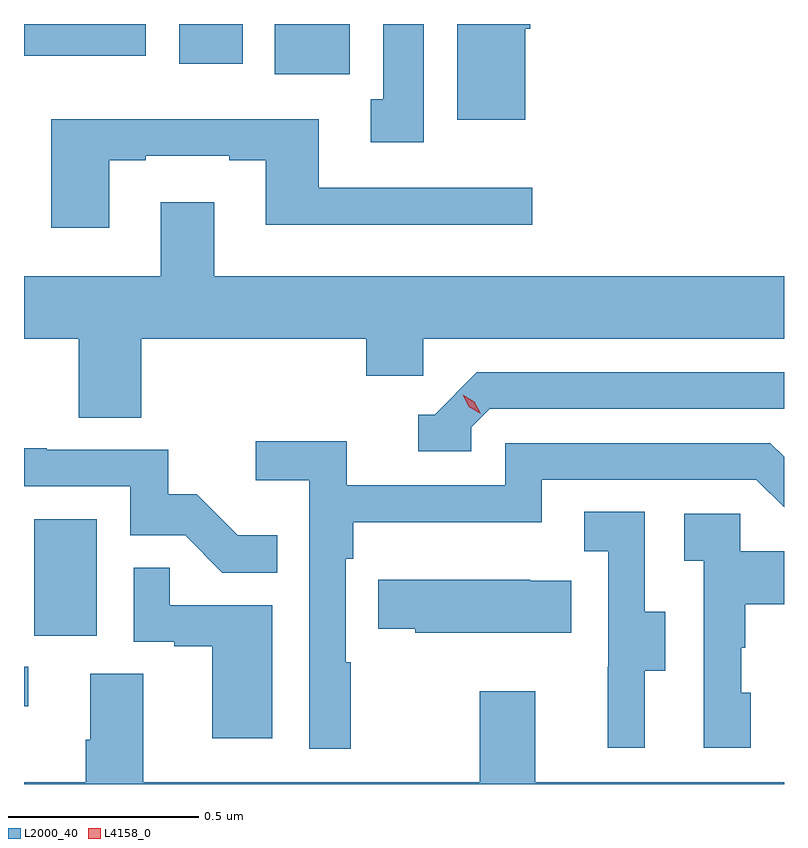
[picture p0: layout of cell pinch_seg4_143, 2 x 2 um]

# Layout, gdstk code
import gdstk
lib = gdstk.Library(unit=1e-6, precision=1e-09)
def R(c, l, rs):  # rectangles x0, y0, x1, y1
    for r in rs: c.add(gdstk.rectangle(r[:2], r[2:], *l))
def P(c, l, *ps):  # polygons
    for p in ps: c.add(gdstk.Polygon(p, *l))
L2000_40 = (2000, 40)
L4158_0 = (4158, 0)

pinch_seg4_143 = lib.new_cell('pinch_seg4_143')
R(pinch_seg4_143, L2000_40, [(1130.105,806.508,1130.116,806.613), (1130.132,806.694,1130.296,807.001), (1130.765,808.172,1130.962,808.304), (1130.513,808.2,1130.68,808.304), (1130.105,808.22,1130.425,808.304)])
P(pinch_seg4_143, L2000_40, [(1131.424,808.292),(1131.437,808.292),(1131.437,808.304),(1131.245,808.304),(1131.245,808.052),(1131.424,808.052)],
  [(1131.157,808.304),(1131.05,808.304),(1131.05,808.106),(1131.017,808.106),(1131.017,807.993),(1131.157,807.993)],
  [(1130.329,807.945),(1130.425,807.945),(1130.425,807.957),(1130.645,807.957),(1130.645,807.945),(1130.741,807.945),(1130.741,807.776),(1131.442,807.776),(1131.442,807.873),(1130.881,807.873),(1130.881,808.054),(1130.177,808.054),(1130.177,807.768),(1130.329,807.768)],
  [(1130.414,807.476),(1131.005,807.476),(1131.005,807.378),(1131.156,807.378),(1131.156,807.476),(1132.105,807.476),(1132.105,807.64),(1130.605,807.64),(1130.605,807.835),(1130.465,807.835),(1130.465,807.64),(1130.105,807.64),(1130.105,807.476),(1130.249,807.476),(1130.249,807.268),(1130.414,807.268)],
  [(1131.282,807.243),(1131.33,807.291),(1132.105,807.291),(1132.105,807.387),(1131.297,807.387),(1131.186,807.276),(1131.143,807.276),(1131.143,807.18),(1131.282,807.18)],
  [(1130.965,806.624),(1130.952,806.624),(1130.952,806.897),(1130.972,806.897),(1130.972,806.993),(1131.468,806.993),(1131.468,807.105),(1132.032,807.105),(1132.105,807.032),(1132.105,807.165),(1132.069,807.201),(1131.372,807.201),(1131.372,807.09),(1130.954,807.09),(1130.954,807.206),(1130.715,807.206),(1130.715,807.104),(1130.856,807.104),(1130.856,806.397),(1130.965,806.397)],
  [(1130.771,806.959),(1130.667,806.959),(1130.56,807.066),(1130.484,807.066),(1130.484,807.183),(1130.165,807.183),(1130.165,807.188),(1130.105,807.188),(1130.105,807.087),(1130.385,807.087),(1130.385,806.958),(1130.529,806.958),(1130.627,806.86),(1130.771,806.86)],
  [(1131.739,806.602),(1131.793,806.602),(1131.793,806.757),(1131.738,806.757),(1131.738,807.02),(1131.579,807.02),(1131.579,806.917),(1131.642,806.917),(1131.642,806.613),(1131.641,806.613),(1131.641,806.4),(1131.739,806.4)],
  [(1132.018,806.544),(1131.993,806.544),(1131.993,806.663),(1132.003,806.663),(1132.003,806.777),(1132.105,806.777),(1132.105,806.917),(1131.99,806.917),(1131.99,807.015),(1131.843,807.015),(1131.843,806.891),(1131.894,806.891),(1131.894,806.4),(1132.018,806.4)],
  [(1130.758,806.775),(1130.489,806.775),(1130.489,806.873),(1130.394,806.873),(1130.394,806.679),(1130.501,806.679),(1130.501,806.667),(1130.6,806.667),(1130.6,806.424),(1130.758,806.424)],
  [(1131.545,806.839),(1131.437,806.839),(1131.437,806.842),(1131.037,806.842),(1131.037,806.713),(1131.135,806.713),(1131.135,806.702),(1131.545,806.702)],
  [(1132.105,806.308),(1131.451,806.308),(1131.451,806.548),(1131.304,806.548),(1131.304,806.308),(1130.419,806.308),(1130.419,806.594),(1130.279,806.594),(1130.279,806.42),(1130.267,806.42),(1130.267,806.308),(1130.105,806.308),(1130.105,806.304),(1132.105,806.304)])
P(pinch_seg4_143, L4158_0, [(1131.307,807.278),(1131.276,807.297),(1131.259,807.329),(1131.259,807.329),(1131.259,807.329),(1131.29,807.31),(1131.307,807.278),(1131.307,807.278)])

lib.write_gds('pinch_seg4_143.gds')
